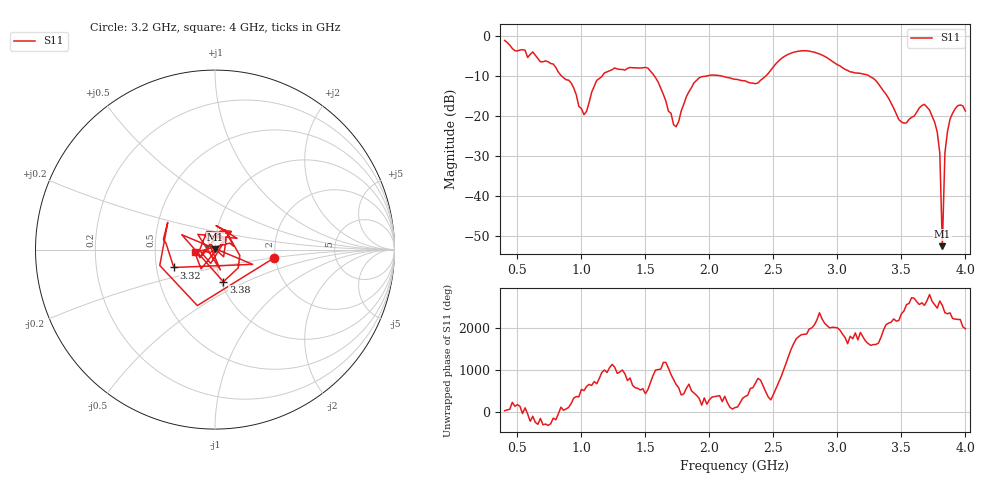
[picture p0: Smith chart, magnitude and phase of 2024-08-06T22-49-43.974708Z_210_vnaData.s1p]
!Created with skrf (http://scikit-rf.org).
# Hz S RI R 50.0
!freq ReS11 ImS11
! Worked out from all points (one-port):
!   181 points, 400 MHz to 4 GHz, reference 50 ohm
!   lowest |S11| = -52.6 dB at 3.82 GHz (marker M1), VSWR 1.00, Z = 50.2 + j0.095 ohm
!   |S11| at or under -10 dB: 1.568 GHz to 1.992 GHz (423.7 MHz wide, 23.8 % of centre); 2.078 GHz to 2.444 GHz (365.6 MHz wide, 16.2 % of centre); 3.245 GHz to end of sweep (the widest 3 of 4)
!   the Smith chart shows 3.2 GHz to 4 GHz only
!   S11 on the Smith chart (normalised r, x): 3.2 GHz: 1.96, -0.21; 3.32 GHz: 0.62, -0.13; 3.38 GHz: 1.03, -0.38; 4 GHz: 0.80, -0.02
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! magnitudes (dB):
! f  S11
! 400 MHz  -1.2
! 860 MHz  -10.5
! 920 MHz  -11.8
! 1.02 GHz  -19.8
! 1.12 GHz  -11.2
! 1.3 GHz  -8.4
! 1.52 GHz  -8.1
! 1.6 GHz  -11.6
! 1.72 GHz  -22.2
! 1.76 GHz  -21.5
! 1.92 GHz  -10.6
! 2.2 GHz  -10.9
! 2.38 GHz  -11.8
! 2.66 GHz  -4.1
! 3.1 GHz  -9.1
! 3.2 GHz  -9.6
! 3.32 GHz  -12.0
! 3.38 GHz  -14.7
! 3.48 GHz  -21.0
! 3.56 GHz  -20.9
! 3.68 GHz  -17.2
! 3.78 GHz  -24.1
! 3.8 GHz  -29.3
! 3.82 GHz  -52.6
! 3.84 GHz  -29.3
! 3.86 GHz  -24.0
! 3.94 GHz  -17.5
! 4 GHz  -18.8
